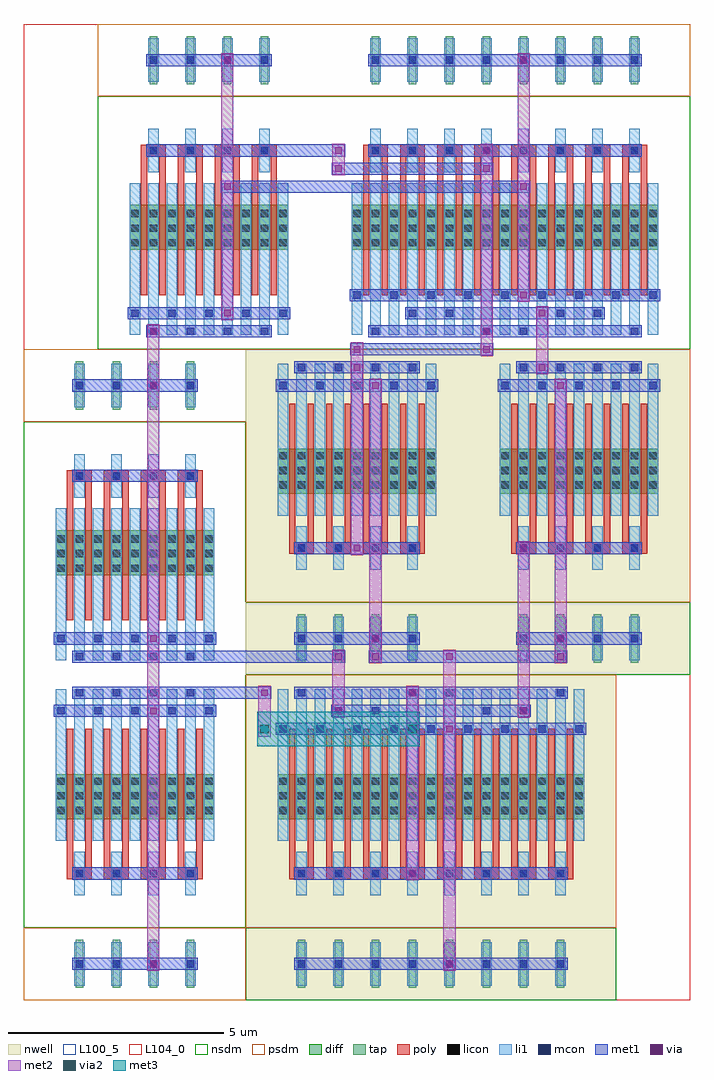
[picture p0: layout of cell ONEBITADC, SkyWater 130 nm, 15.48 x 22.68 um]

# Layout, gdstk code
import gdstk
lib = gdstk.Library(unit=1e-6, precision=1e-09)
def R(c, l, rs):  # rectangles x0, y0, x1, y1
    for r in rs: c.add(gdstk.rectangle(r[:2], r[2:], *l))
def A(c, l, x, y, w, h, nx, ny, dx, dy):  # array of equal rectangles
    R(c, l, [(x+i*dx, y+j*dy, x+i*dx+w, y+j*dy+h) for i in range(nx) for j in range(ny)])
nwell = (64, 20)
diff = (65, 20)
tap = (65, 44)
poly = (66, 20)
licon = (66, 44)
li1 = (67, 20)
mcon = (67, 44)
met1 = (68, 20)
via = (68, 44)
met2 = (69, 20)
via2 = (69, 44)
met3 = (70, 20)
nsdm = (93, 44)
psdm = (94, 20)
L100_5 = (100, 5)
L104_0 = (104, 0)

onebitadc = lib.new_cell('ONEBITADC')
R(onebitadc, nwell, [(5.16,0,13.76,7.56), (5.16,7.56,10.32,15.12), (10.32,7.56,15.48,15.12)])
R(onebitadc, diff, [(0.735,4.2,4.425,5.25), (5.895,4.2,13.025,5.25), (0.735,9.87,4.425,10.92), (5.895,11.76,9.585,12.81), (11.055,11.76,14.745,12.81), (2.455,17.43,6.145,18.48), (7.615,17.43,14.745,18.48)])
A(onebitadc, tap, 1.205, 0.28, 0.17, 1.12, 4, 2, 0.86, 13.44)
A(onebitadc, tap, 6.365, 0.28, 0.17, 1.12, 8, 1, 0.86, 0)
A(onebitadc, tap, 6.365, 7.84, 0.17, 1.12, 4, 1, 0.86, 0)
A(onebitadc, tap, 11.525, 7.84, 0.17, 1.12, 4, 1, 0.86, 0)
A(onebitadc, tap, 2.925, 21.28, 0.17, 1.12, 4, 1, 0.86, 0)
A(onebitadc, tap, 8.085, 21.28, 0.17, 1.12, 8, 1, 0.86, 0)
A(onebitadc, poly, 1, 2.805, 0.58, 0.27, 4, 2, 0.86, 9.24)
A(onebitadc, poly, 6.16, 2.805, 0.58, 0.27, 8, 1, 0.86, 0)
A(onebitadc, poly, 1, 2.94, 0.15, 3.36, 8, 2, 0.43, 5.88)
A(onebitadc, poly, 6.16, 2.94, 0.15, 3.36, 16, 1, 0.43, 0)
A(onebitadc, poly, 6.16, 10.365, 0.58, 0.27, 4, 1, 0.86, 0)
A(onebitadc, poly, 11.32, 10.365, 0.58, 0.27, 4, 1, 0.86, 0)
A(onebitadc, poly, 6.16, 10.5, 0.15, 3.36, 8, 1, 0.43, 0)
A(onebitadc, poly, 11.32, 10.5, 0.15, 3.36, 8, 1, 0.43, 0)
A(onebitadc, poly, 2.72, 16.38, 0.15, 3.36, 8, 1, 0.43, 0)
A(onebitadc, poly, 7.88, 16.38, 0.15, 3.36, 16, 1, 0.43, 0)
A(onebitadc, poly, 2.72, 19.605, 0.58, 0.27, 4, 1, 0.86, 0)
A(onebitadc, poly, 7.88, 19.605, 0.58, 0.27, 8, 1, 0.86, 0)
A(onebitadc, licon, 1.205, 0.755, 0.17, 0.17, 4, 2, 0.86, 2.1)
A(onebitadc, licon, 6.365, 0.755, 0.17, 0.17, 8, 2, 0.86, 2.1)
A(onebitadc, licon, 0.775, 4.32, 0.17, 0.17, 3, 3, 0.43, 0.34)
A(onebitadc, licon, 1.635, 4.32, 0.17, 0.17, 3, 3, 0.43, 0.34)
A(onebitadc, licon, 2.495, 4.32, 0.17, 0.17, 3, 3, 0.43, 0.34)
A(onebitadc, licon, 3.355, 4.32, 0.17, 0.17, 3, 3, 0.43, 0.34)
A(onebitadc, licon, 5.935, 4.32, 0.17, 0.17, 3, 3, 0.43, 0.34)
A(onebitadc, licon, 6.795, 4.32, 0.17, 0.17, 3, 3, 0.43, 0.34)
A(onebitadc, licon, 7.655, 4.32, 0.17, 0.17, 3, 3, 0.43, 0.34)
A(onebitadc, licon, 8.515, 4.32, 0.17, 0.17, 3, 3, 0.43, 0.34)
A(onebitadc, licon, 9.375, 4.32, 0.17, 0.17, 3, 3, 0.43, 0.34)
A(onebitadc, licon, 10.235, 4.32, 0.17, 0.17, 3, 3, 0.43, 0.34)
A(onebitadc, licon, 11.095, 4.32, 0.17, 0.17, 3, 3, 0.43, 0.34)
A(onebitadc, licon, 11.955, 4.32, 0.17, 0.17, 3, 3, 0.43, 0.34)
A(onebitadc, licon, 6.365, 8.315, 0.17, 0.17, 4, 2, 0.86, 2.1)
A(onebitadc, licon, 11.525, 8.315, 0.17, 0.17, 4, 2, 0.86, 2.1)
A(onebitadc, licon, 0.775, 9.95, 0.17, 0.17, 3, 3, 0.43, 0.34)
A(onebitadc, licon, 1.635, 9.95, 0.17, 0.17, 3, 3, 0.43, 0.34)
A(onebitadc, licon, 2.495, 9.95, 0.17, 0.17, 3, 3, 0.43, 0.34)
A(onebitadc, licon, 3.355, 9.95, 0.17, 0.17, 3, 3, 0.43, 0.34)
A(onebitadc, licon, 5.935, 11.88, 0.17, 0.17, 3, 3, 0.43, 0.34)
A(onebitadc, licon, 6.795, 11.88, 0.17, 0.17, 3, 3, 0.43, 0.34)
A(onebitadc, licon, 7.655, 11.88, 0.17, 0.17, 3, 3, 0.43, 0.34)
A(onebitadc, licon, 8.515, 11.88, 0.17, 0.17, 3, 3, 0.43, 0.34)
A(onebitadc, licon, 11.095, 11.88, 0.17, 0.17, 3, 3, 0.43, 0.34)
A(onebitadc, licon, 11.955, 11.88, 0.17, 0.17, 3, 3, 0.43, 0.34)
A(onebitadc, licon, 12.815, 11.88, 0.17, 0.17, 3, 3, 0.43, 0.34)
A(onebitadc, licon, 13.675, 11.88, 0.17, 0.17, 3, 3, 0.43, 0.34)
A(onebitadc, licon, 1.205, 12.095, 0.17, 0.17, 4, 2, 0.86, 2.1)
A(onebitadc, licon, 2.495, 17.51, 0.17, 0.17, 3, 3, 0.43, 0.34)
A(onebitadc, licon, 3.355, 17.51, 0.17, 0.17, 3, 3, 0.43, 0.34)
A(onebitadc, licon, 4.215, 17.51, 0.17, 0.17, 3, 3, 0.43, 0.34)
A(onebitadc, licon, 5.075, 17.51, 0.17, 0.17, 3, 3, 0.43, 0.34)
A(onebitadc, licon, 7.655, 17.51, 0.17, 0.17, 3, 3, 0.43, 0.34)
A(onebitadc, licon, 8.515, 17.51, 0.17, 0.17, 3, 3, 0.43, 0.34)
A(onebitadc, licon, 9.375, 17.51, 0.17, 0.17, 3, 3, 0.43, 0.34)
A(onebitadc, licon, 10.235, 17.51, 0.17, 0.17, 3, 3, 0.43, 0.34)
A(onebitadc, licon, 11.095, 17.51, 0.17, 0.17, 3, 3, 0.43, 0.34)
A(onebitadc, licon, 11.955, 17.51, 0.17, 0.17, 3, 3, 0.43, 0.34)
A(onebitadc, licon, 12.815, 17.51, 0.17, 0.17, 3, 3, 0.43, 0.34)
A(onebitadc, licon, 13.675, 17.51, 0.17, 0.17, 3, 3, 0.43, 0.34)
A(onebitadc, licon, 2.925, 19.655, 0.17, 0.17, 4, 2, 0.86, 2.1)
A(onebitadc, licon, 8.085, 19.655, 0.17, 0.17, 8, 2, 0.86, 2.1)
A(onebitadc, li1, 1.165, 0.335, 0.25, 1.01, 4, 2, 0.86, 2.1)
A(onebitadc, li1, 6.325, 0.335, 0.25, 1.01, 8, 2, 0.86, 2.1)
A(onebitadc, li1, 0.735, 3.695, 0.25, 3.53, 9, 2, 0.43, 4.2)
A(onebitadc, li1, 5.895, 3.695, 0.25, 3.53, 17, 1, 0.43, 0)
A(onebitadc, li1, 6.325, 7.895, 0.25, 1.01, 4, 2, 0.86, 2.1)
A(onebitadc, li1, 11.485, 7.895, 0.25, 1.01, 4, 2, 0.86, 2.1)
A(onebitadc, li1, 5.895, 11.255, 0.25, 3.53, 9, 1, 0.43, 0)
A(onebitadc, li1, 11.055, 11.255, 0.25, 3.53, 9, 1, 0.43, 0)
A(onebitadc, li1, 1.165, 11.675, 0.25, 1.01, 4, 2, 0.86, 2.1)
A(onebitadc, li1, 2.455, 15.455, 0.25, 3.53, 9, 1, 0.43, 0)
A(onebitadc, li1, 7.615, 15.455, 0.25, 3.53, 17, 1, 0.43, 0)
A(onebitadc, li1, 2.885, 19.235, 0.25, 1.01, 4, 2, 0.86, 2.1)
A(onebitadc, li1, 8.045, 19.235, 0.25, 1.01, 8, 2, 0.86, 2.1)
A(onebitadc, mcon, 1.205, 0.755, 0.17, 0.17, 4, 2, 0.86, 2.1)
A(onebitadc, mcon, 6.365, 0.755, 0.17, 0.17, 8, 2, 0.86, 2.1)
A(onebitadc, mcon, 5.935, 6.215, 0.17, 0.17, 9, 1, 0.86, 0)
A(onebitadc, mcon, 0.775, 6.635, 0.17, 0.17, 5, 2, 0.86, 1.68)
A(onebitadc, mcon, 1.205, 7.055, 0.17, 0.17, 4, 2, 0.86, 0.84)
A(onebitadc, mcon, 6.365, 8.315, 0.17, 0.17, 4, 2, 0.86, 2.1)
A(onebitadc, mcon, 11.525, 8.315, 0.17, 0.17, 4, 2, 0.86, 2.1)
A(onebitadc, mcon, 1.205, 12.095, 0.17, 0.17, 4, 2, 0.86, 2.1)
A(onebitadc, mcon, 5.935, 14.195, 0.17, 0.17, 5, 1, 0.86, 0)
A(onebitadc, mcon, 11.095, 14.195, 0.17, 0.17, 5, 1, 0.86, 0)
A(onebitadc, mcon, 6.365, 14.615, 0.17, 0.17, 4, 1, 0.86, 0)
A(onebitadc, mcon, 11.525, 14.615, 0.17, 0.17, 4, 1, 0.86, 0)
A(onebitadc, mcon, 2.925, 15.455, 0.17, 0.17, 4, 2, 0.86, 4.2)
A(onebitadc, mcon, 2.495, 15.875, 0.17, 0.17, 5, 1, 0.86, 0)
A(onebitadc, mcon, 7.655, 16.295, 0.17, 0.17, 9, 1, 0.86, 0)
A(onebitadc, mcon, 8.085, 19.655, 0.17, 0.17, 8, 2, 0.86, 2.1)
A(onebitadc, mcon, 2.925, 21.755, 0.17, 0.17, 4, 1, 0.86, 0)
R(onebitadc, mcon, [(7.225,6.635,7.395,6.805), (8.085,6.635,8.255,6.805), (10.665,6.635,10.835,6.805), (11.525,6.635,11.695,6.805), (6.365,7.055,6.535,7.225), (8.945,7.055,9.115,7.225), (9.805,7.055,9.975,7.225), (12.385,7.055,12.555,7.225), (8.085,15.455,8.255,15.625), (10.665,15.455,10.835,15.625), (11.525,15.455,11.695,15.625), (14.105,15.455,14.275,15.625), (8.945,15.875,9.115,16.045), (9.805,15.875,9.975,16.045), (12.385,15.875,12.555,16.045), (13.245,15.875,13.415,16.045)])
R(onebitadc, met1, [(1.12,0.7,4.04,0.98), (6.28,0.7,12.64,0.98), (1.12,2.8,4.04,3.08), (6.28,2.8,12.64,3.08), (5.85,6.16,13.07,6.44), (0.69,6.58,4.47,6.86), (7.14,6.58,11.78,6.86), (1.12,7,5.75,7.28), (6.28,7,12.64,7.28), (1.12,7.84,7.47,8.12), (8.01,7.84,12.63,8.12), (0.69,8.26,4.47,8.54), (6.28,8.26,9.2,8.54), (11.44,8.26,14.36,8.54), (6.28,10.36,9.2,10.64), (11.44,10.36,14.36,10.64), (1.12,12.04,4.04,12.32), (1.12,14.14,4.04,14.42), (5.85,14.14,9.63,14.42), (11.01,14.14,14.79,14.42), (6.28,14.56,9.2,14.84), (11.44,14.56,14.36,14.84), (7.58,14.98,10.91,15.26), (2.84,15.4,5.76,15.68), (8,15.4,14.36,15.68), (2.41,15.82,6.19,16.1), (8.86,15.82,13.5,16.1), (7.57,16.24,14.79,16.52), (4.57,18.76,11.77,19.04), (7.15,19.18,10.91,19.46), (2.84,19.6,7.47,19.88), (8,19.6,14.36,19.88), (2.84,21.7,5.76,21.98), (8,21.7,14.36,21.98)])
A(onebitadc, via, 2.935, 6.645, 0.15, 0.15, 3, 1, 4.3, 0)
A(onebitadc, via, 4.655, 15.885, 0.15, 0.15, 1, 3, 0, 2.94)
R(onebitadc, via, [(2.935,0.765,3.085,0.915), (9.815,0.765,9.965,0.915), (8.955,2.865,9.105,3.015), (9.815,6.225,9.965,6.375), (5.515,7.065,5.665,7.215), (8.955,7.065,9.105,7.215), (7.235,7.905,7.385,8.055), (8.095,7.905,8.245,8.055), (9.815,7.905,9.965,8.055), (12.395,7.905,12.545,8.055), (2.935,8.325,3.085,8.475), (8.095,8.325,8.245,8.475), (12.395,8.325,12.545,8.475), (7.665,10.425,7.815,10.575), (11.535,10.425,11.685,10.575), (2.935,14.205,3.085,14.355), (8.095,14.205,8.245,14.355), (12.395,14.205,12.545,14.355), (7.665,14.625,7.815,14.775), (11.965,14.625,12.115,14.775), (7.665,15.045,7.815,15.195), (10.675,15.045,10.825,15.195), (2.935,15.465,3.085,15.615), (10.675,15.465,10.825,15.615), (11.965,15.885,12.115,16.035), (11.535,16.305,11.685,16.455), (11.535,18.825,11.685,18.975), (7.235,19.245,7.385,19.395), (10.675,19.245,10.825,19.395), (7.235,19.665,7.385,19.815), (10.675,19.665,10.825,19.815), (11.535,21.765,11.685,21.915)])
R(onebitadc, met2, [(2.87,0.68,3.15,15.7), (9.75,0.68,10.03,8.14), (8.89,2.78,9.17,7.3), (5.45,6.115,5.73,7.3), (7.17,6.56,7.45,8.14), (11.47,6.56,11.75,10.66), (8.03,7.82,8.31,14.44), (12.33,7.82,12.61,14.44), (7.6,10.34,7.88,15.28), (11.9,14.54,12.18,16.12), (10.61,14.96,10.89,19.9), (4.59,15.8,4.87,22), (11.47,16.22,11.75,22), (7.17,19.16,7.45,19.9)])
R(onebitadc, via2, [(5.49,6.2,5.69,6.4), (8.93,6.2,9.13,6.4)])
R(onebitadc, met3, [(5.425,5.9,9.195,6.7)])
R(onebitadc, nsdm, [(5.16,0,13.76,1.68), (0,1.68,5.16,7.56), (0,7.56,5.16,13.44), (5.16,7.56,10.32,9.24), (10.32,7.56,15.48,9.24), (1.72,15.12,6.88,21), (6.88,15.12,15.48,21)])
R(onebitadc, psdm, [(0,0,5.16,1.68), (5.16,1.68,13.76,7.56), (5.16,9.24,10.32,15.12), (10.32,9.24,15.48,15.12), (0,13.44,5.16,15.12), (1.72,21,6.88,22.68), (6.88,21,15.48,22.68)])
R(onebitadc, L100_5, [(0,0,15.48,22.68)])
R(onebitadc, L104_0, [(0,0,15.48,22.68)])

lib.write_gds('ONEBITADC.gds')
